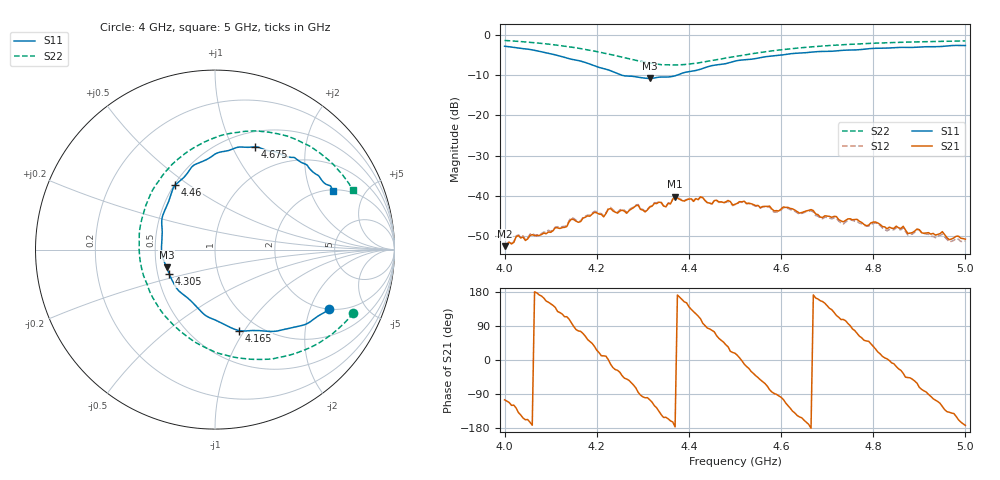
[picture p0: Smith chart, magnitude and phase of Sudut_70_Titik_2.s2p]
# Hz S RI R 50
! CMT, C1220, 16058040, 17.2.0/1
! Date: 15/08/2018 11:40:31
! Data: Format (Calibration Info)
! Freq  S11: Re/Im (F2)  S21: Re/Im (F2)  S12: Re/Im (F2)  S22: Re/Im (F2)
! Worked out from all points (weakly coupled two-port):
!   201 points, 4 GHz to 5 GHz, reference 50 ohm
!   highest |S21| = -40.13 dB at 4.37 GHz (marker M1); lowest = -52.4 dB at 4 GHz (marker M2)
!   lowest |S11| = -10.8 dB at 4.315 GHz (marker M3), VSWR 1.81, Z = 28.3 - j6.04 ohm
!   |S11| at or under -10 dB: 4.253 GHz to 4.375 GHz (122 MHz wide, 2.83 % of centre)
!   |S22| runs from -7.5 to -1.4 dB; largest |S21 - S12| = 0.00032
!   S11 on the Smith chart (normalised r, x): 4 GHz: 1.99, -2.75; 4.165 GHz: 0.82, -0.94; 4.305 GHz: 0.58, -0.17; 4.46 GHz: 0.51, +0.44; 4.675 GHz: 0.67, +1.23; 5 GHz: 2.03, +2.90
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4e9  0.6373 -0.3333  -0.000625 -0.00232  -0.00058 -0.00245  0.7702 -0.3537
4.03e9  0.5714 -0.3724  -0.00243 -0.00214  -0.0024 -0.00227  0.7115 -0.4182
4.045e9  0.5334 -0.4  -0.00261 -0.00108  -0.00263 -0.0012  0.6767 -0.4499
4.135e9  0.2441 -0.4513  -0.00173 0.00383  -0.00186 0.00389  0.3984 -0.5922
4.145e9  0.2069 -0.4508  -0.000712 0.00514  -0.000904 0.00537  0.3588 -0.6002
4.165e9  0.133 -0.4511  0.00121 0.00469  0.00117 0.00479  0.2798 -0.6112
4.17e9  0.1169 -0.4463  0.00181 0.00501  0.0018 0.00517  0.2592 -0.6118
4.215e9  -0.0304 -0.3795  0.00544 0.00106  0.0056 0.00114  0.0622 -0.5889
4.23e9  -0.0725 -0.3499  0.00689 -0.00135  0.0071 -0.00137  -0.00511 -0.5685
4.265e9  -0.1713 -0.2548  0.00392 -0.00471  0.00403 -0.00477  -0.1511 -0.4879
4.29e9  -0.2304 -0.187  0.00059 -0.00769  0.00053 -0.00786  -0.2462 -0.4047
4.305e9  -0.2545 -0.1371  -0.00108 -0.00628  -0.00108 -0.00641  -0.2948 -0.3497
4.315e9  -0.2698 -0.098  -0.0019 -0.00706  -0.00202 -0.00713  -0.3236 -0.3066
4.335e9  -0.2957 -0.0309  -0.00597 -0.00594  -0.00608 -0.00593  -0.3708 -0.2154
4.35e9  -0.2981 0.0183  -0.00645 -0.00355  -0.00652 -0.00354  -0.3986 -0.1438
4.37e9  -0.2941 0.0958  -0.00983 -0.000589  -0.00997 -0.000458  -0.4192 -0.0449
4.46e9  -0.2203 0.3601  0.00387 0.00802  0.00404 0.00784  -0.3267 0.3642
4.5e9  -0.1372 0.4496  0.00754 0.00243  0.00748 0.0024  -0.2225 0.4896
4.67e9  0.215 0.5715  -0.00655 0.000958  -0.00628 0.00105  0.2619 0.6576
4.675e9  0.2228 0.572  -0.00578 0.00168  -0.00551 0.00164  0.2739 0.6573
4.835e9  0.4831 0.4846  0.00413 -0.000105  0.00387 -4.98e-05  0.5889 0.5344
5e9  0.6552 0.3293  -0.0029 -0.000371  -0.00275 -0.000442  0.7671 0.3346
